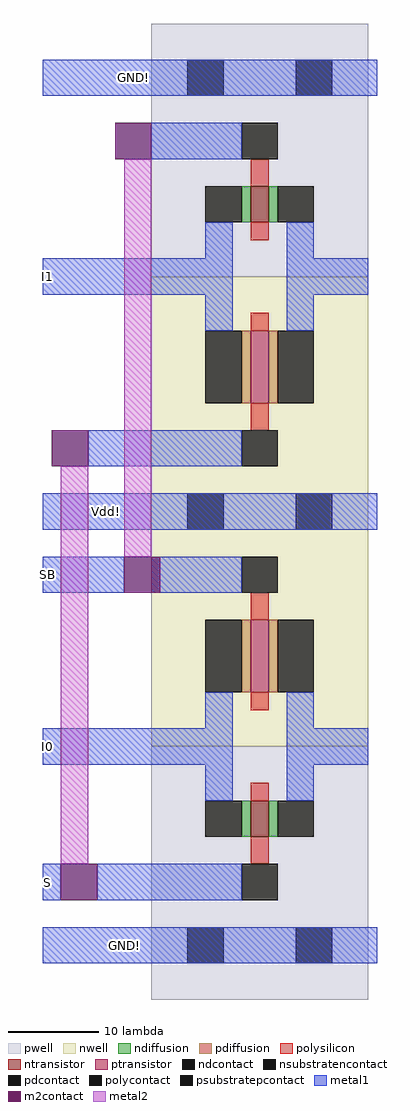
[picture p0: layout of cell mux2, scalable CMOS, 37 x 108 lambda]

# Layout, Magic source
magic
tech scmos
<< metal1 >>
rect -12 100 25 104
rect -12 78 0 82
rect -7 59 0 63
rect -12 52 25 56
rect -12 45 -3 49
rect -12 26 0 30
rect -12 11 -10 15
rect -6 11 0 15
rect -12 4 25 8
<< metal2 >>
rect -10 15 -7 59
rect -3 49 0 93
<< m2contact >>
rect -4 93 0 97
rect -11 59 -7 63
rect -3 45 1 49
rect -10 11 -6 15
use transmissiongate  transmissiongate_1 transmissiongate
transform 1 0 0 0 -1 108
box 0 0 24 59
use transmissiongate  transmissiongate_0
transform 1 0 0 0 1 0
box 0 0 24 59
<< labels >>
rlabel metal1 -12 11 -11 15 3 S
rlabel metal1 -12 45 -11 49 3 SB
rlabel metal1 -12 26 -11 30 3 I0
rlabel metal1 -12 78 -11 82 3 I1
rlabel metal1 -2 102 -2 102 1 GND!
rlabel metal1 -5 54 -5 54 1 Vdd!
rlabel metal1 -3 6 -3 6 1 GND!
<< end >>

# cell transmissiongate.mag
magic
tech scmos
<< pwell >>
rect 0 0 24 28
<< nwell >>
rect 0 28 24 59
<< polysilicon >>
rect 11 42 13 45
rect 11 32 13 34
rect 11 22 13 24
rect 11 15 13 18
<< ndiffusion >>
rect 10 18 11 22
rect 13 18 14 22
<< pdiffusion >>
rect 10 34 11 42
rect 13 34 14 42
<< metal1 >>
rect 0 52 4 56
rect 8 52 16 56
rect 20 52 24 56
rect 0 45 10 49
rect 6 30 9 34
rect 0 26 9 30
rect 6 22 9 26
rect 15 30 18 34
rect 15 26 24 30
rect 15 22 18 26
rect 0 11 10 15
rect 0 4 4 8
rect 8 4 16 8
rect 20 4 24 8
<< ntransistor >>
rect 11 18 13 22
<< ptransistor >>
rect 11 34 13 42
<< polycontact >>
rect 10 45 14 49
rect 10 11 14 15
<< ndcontact >>
rect 6 18 10 22
rect 14 18 18 22
<< pdcontact >>
rect 6 34 10 42
rect 14 34 18 42
<< psubstratepcontact >>
rect 4 4 8 8
rect 16 4 20 8
<< nsubstratencontact >>
rect 4 52 8 56
rect 16 52 20 56
<< labels >>
rlabel metal1 12 6 12 6 1 GND!
rlabel metal1 2 13 2 13 1 C
rlabel metal1 2 47 2 47 1 CB
rlabel metal1 11 54 11 54 1 Vdd!
rlabel metal1 0 26 1 30 3 IN
rlabel metal1 23 26 24 30 7 OUT
<< end >>
